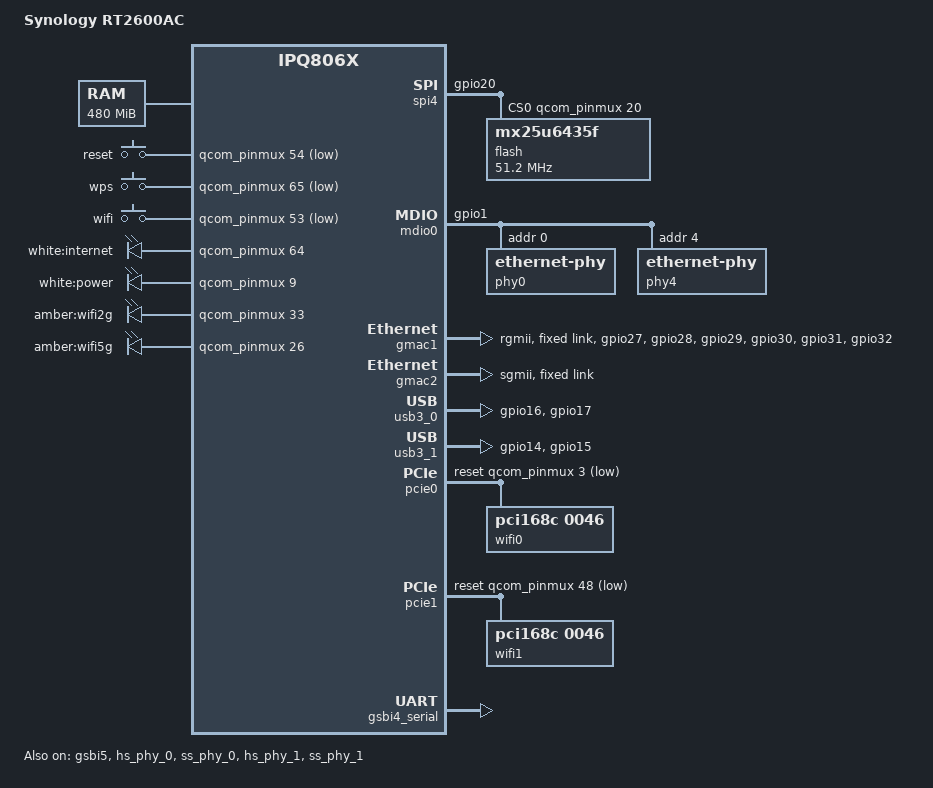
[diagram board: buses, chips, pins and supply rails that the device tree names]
// SPDX-License-Identifier: GPL-2.0-or-later

#include "qcom-ipq8065-smb208.dtsi"

#include <dt-bindings/input/input.h>

/ {
	model = "Synology RT2600AC";
	compatible = "synology,rt2600ac", "qcom,ipq8065-rt2600ac",
		     "qcom,ipq8065", "qcom,ipq806x";

	memory@0 {
		device_type = "memory";
		reg = <0x42000000 0x1e000000>;
	};

	aliases {
		mdio-gpio0 = &mdio0;
		sdcc1 = &sdcc1;
		serial0 = &gsbi4_serial;

		led-boot = &power;
		led-failsafe = &power;
		led-running = &power;
		led-upgrade = &power;
	};

	chosen {
		stdout-path = "serial0:115200n8";
		bootargs = "rootfstype=squashfs,ext4 rootwait noinitrd root=/dev/mmcblk0p5";
	};

	keys {
		compatible = "gpio-keys";
		pinctrl-0 = <&rt2600_button_pins>;
		pinctrl-names = "default";

		reset {
			label = "reset";
			gpios = <&qcom_pinmux 54 GPIO_ACTIVE_LOW>;
			linux,code = <KEY_RESTART>;
			debounce-interval = <60>;
			wakeup-source;
		};

		wps {
			label = "wps";
			gpios = <&qcom_pinmux 65 GPIO_ACTIVE_LOW>;
			linux,code = <KEY_WPS_BUTTON>;
			debounce-interval = <60>;
			wakeup-source;
		};

		wifi {
			label = "wifi";
			gpios = <&qcom_pinmux 53 GPIO_ACTIVE_LOW>;
			linux,code = <KEY_RFKILL>;
			debounce-interval = <60>;
			wakeup-source;
		};
	};

	leds {
		compatible = "gpio-leds";
		pinctrl-0 = <&rt2600_led_pins>;
		pinctrl-names = "default";

		internet {
			label = "white:internet";
			gpios = <&qcom_pinmux 64 GPIO_ACTIVE_HIGH>;
		};

		power: power {
			label = "white:power";
			gpios = <&qcom_pinmux 9 GPIO_ACTIVE_HIGH>;
			default-state = "keep";
		};

		wifi2g {
			label = "amber:wifi2g";
			gpios = <&qcom_pinmux 33 GPIO_ACTIVE_HIGH>;
		};

		wifi5g {
			label = "amber:wifi5g";
			gpios = <&qcom_pinmux 26 GPIO_ACTIVE_HIGH>;
		};
	};
};

&qcom_pinmux {
	rt2600_button_pins: rt2600-button-pins {
		mux {
			pins = "gpio53", "gpio54", "gpio65";
			function = "gpio";
			drive-strength = <2>;
			bias-pull-up;
		};
	};

	rt2600_led_pins: rt2600-led-pins {
		mux {
			pins = "gpio9", "gpio26", "gpio33", "gpio64";
			function = "gpio";
			drive-strength = <2>;
			bias-pull-down;
		};
	};

	rt2600_mdio0_pins: rt2600-mdio0-pins {
		clk {
			pins = "gpio1";
			input-disable;
		};
	};

	rt2600_rgmii2_pins: rt2600-rgmii2-pins {
		tx {
			pins = "gpio27", "gpio28", "gpio29",
			       "gpio30", "gpio31", "gpio32";
			input-disable;
		};
	};

	rt2600_spi_pins: rt2600-spi-pins {
		cs {
			pins = "gpio20";
			drive-strength = <12>;
		};
	};

	rt2600_usb0_pwr_en_pins: rt2600-usb0-pwr-en-pins {
		mux {
			pins = "gpio16", "gpio17";
			function = "gpio";
			drive-strength = <12>;
		};

		pwr {
			pins = "gpio17";
			bias-pull-down;
			output-high;
		};

		ovc {
			pins = "gpio16";
			bias-pull-up;
		};
	};

	rt2600_usb1_pwr_en_pins: rt2600-usb1-pwr-en-pins {
		mux {
			pins = "gpio14", "gpio15";
			function = "gpio";
			drive-strength = <12>;
		};

		pwr {
			pins = "gpio14";
			bias-pull-down;
			output-high;
		};

		ovc {
			pins = "gpio15";
			bias-pull-up;
		};
	};
};

&gsbi5 {
	qcom,mode = <GSBI_PROT_SPI>;
	status = "okay";

	spi4: spi@1a280000 {
		status = "okay";

		pinctrl-0 = <&rt2600_spi_pins>;
		pinctrl-names = "default";

		cs-gpios = <&qcom_pinmux 20 GPIO_ACTIVE_HIGH>;

		flash@0 {
			compatible = "mx25u6435f", "jedec,spi-nor";
			reg = <0>;
			spi-max-frequency = <51200000>;

			partitions {
				compatible = "qcom,smem-part";
			};
		};
	};
};

&mdio0 {
	status = "okay";

	pinctrl-0 = <&rt2600_mdio0_pins>;
	pinctrl-names = "default";

	phy0: ethernet-phy@0 {
		reg = <0>;
		qca,ar8327-initvals = <
			0x00004 0x7600000
			0x00008 0x1000000
			0x0000c 0x80
			0x000e4 0xaa545
			0x000e0 0xc74164de
			0x0007c 0x4e
			0x00094 0x4e
			0x00970 0x1e864443
			0x00974 0x000001c6
			0x00978 0x19008643
			0x0097c 0x000001c6
			0x00980 0x19008643
			0x00984 0x000001c6
			0x00988 0x19008643
			0x0098c 0x000001c6
			0x00990 0x19008643
			0x00994 0x000001c6
			0x00998 0x1e864443
			0x0099c 0x000001c6
			0x009a0 0x1e864443
			0x009a4 0x000001c6
		>;
		qca,ar8327-vlans = <
			0x1 0x5e
			0x2 0x21
		>;
	};

	phy4: ethernet-phy@4 {
		reg = <4>;
		qca,ar8327-initvals = <
			0x000e4 0x6a545
			0x0000c 0x80
		>;
	};
};

&gmac1 {
	status = "okay";
	phy-mode = "rgmii";
	qcom,id = <1>;
	qcom,phy_mdio_addr = <4>;
	qcom,poll_required = <0>;
	qcom,rgmii_delay = <1>;
	qcom,phy_mii_type = <0>;
	qcom,emulation = <0>;
	qcom,irq = <255>;
	mdiobus = <&mdio0>;

	pinctrl-0 = <&rt2600_rgmii2_pins>;
	pinctrl-names = "default";

	fixed-link {
		speed = <1000>;
		full-duplex;
	};
};

&gmac2 {
	status = "okay";
	phy-mode = "sgmii";
	qcom,id = <2>;
	qcom,phy_mdio_addr = <0>;
	qcom,poll_required = <0>;
	qcom,rgmii_delay = <0>;
	qcom,phy_mii_type = <1>;
	qcom,emulation = <0>;
	qcom,irq = <258>;
	mdiobus = <&mdio0>;

	fixed-link {
		speed = <1000>;
		full-duplex;
	};
};

&amba {
	sdcc1: sdcc@12400000 {
		status = "okay";
	};
};

&adm_dma {
	status = "okay";
};

&hs_phy_0 {
	status = "okay";
};

&ss_phy_0 {
	status = "okay";
};

&usb3_0 {
	status = "okay";
	pinctrl-0 = <&rt2600_usb0_pwr_en_pins>;
	pinctrl-names = "default";
};

&hs_phy_1 {
	status = "okay";
};

&ss_phy_1 {
	status = "okay";
};

&usb3_1 {
	status = "okay";
	pinctrl-0 = <&rt2600_usb1_pwr_en_pins>;
	pinctrl-names = "default";
};

&pcie0 {
	status = "okay";
	reset-gpio = <&qcom_pinmux 3 GPIO_ACTIVE_LOW>;
	pinctrl-0 = <&pcie0_pins>;
	pinctrl-names = "default";

	bridge@0,0 {
		reg = <0x00000000 0 0 0 0>;
		#address-cells = <3>;
		#size-cells = <2>;
		ranges;

		wifi0: wifi@1,0 {
			compatible = "pci168c,0046";
			reg = <0x00010000 0 0 0 0>;
		};
	};
};

&pcie1 {
	status = "okay";
	reset-gpio = <&qcom_pinmux 48 GPIO_ACTIVE_LOW>;
	pinctrl-0 = <&pcie1_pins>;
	pinctrl-names = "default";
	max-link-speed = <1>;

	bridge@0,0 {
		reg = <0x00000000 0 0 0 0>;
		#address-cells = <3>;
		#size-cells = <2>;
		ranges;

		wifi1: wifi@1,0 {
			compatible = "pci168c,0046";
			reg = <0x00010000 0 0 0 0>;
		};
	};
};

&gsbi4_serial {
	status = "okay";
};
